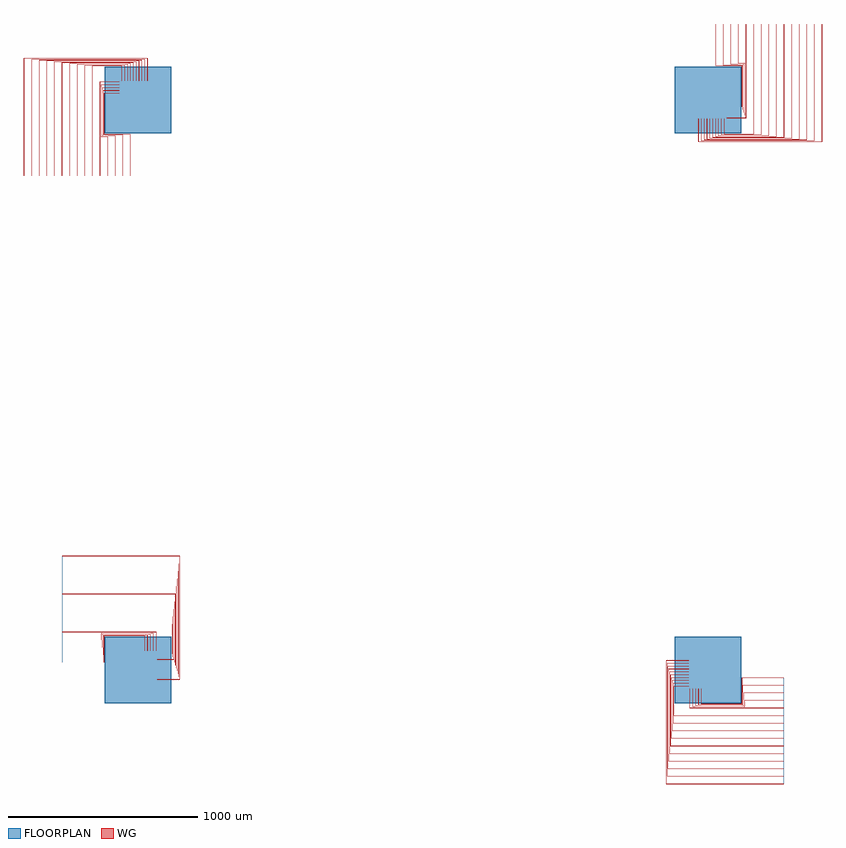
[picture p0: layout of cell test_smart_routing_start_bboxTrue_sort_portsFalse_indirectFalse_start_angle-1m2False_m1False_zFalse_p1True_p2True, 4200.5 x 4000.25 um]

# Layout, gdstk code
import gdstk
lib = gdstk.Library(unit=1e-6, precision=1e-09)
def R(c, l, rs):  # rectangles x0, y0, x1, y1
    for r in rs: c.add(gdstk.rectangle(r[:2], r[2:], *l))
def P(c, l, *ps):  # polygons
    for p in ps: c.add(gdstk.Polygon(p, *l))
WG = (1, 0)
FLOORPLAN = (10, 0)

test_smart_routing_start = lib.new_cell('test_smart_routing_start_bboxTrue_sort_portsFalse_indirectFalse_start_angle-1m2False_m1False_zFalse_p1True_p2True')
P(test_smart_routing_start, WG, [(2950.05,2780.3),(2950.05,2900),(2950.25,2900),(2950.25,2780.5),(3599.75,2780.5),(3599.75,3400),(3599.95,3400),(3599.95,2780.3)],
  [(2949.75,2780),(2949.75,2900),(2949.95,2900),(2949.95,2780.2),(3600.05,2780.2),(3600.05,3400),(3600.25,3400),(3600.25,2780)],
  [(2965.05,2784.8),(2965.05,2900),(2965.25,2900),(2965.25,2785),(3559.75,2785),(3559.75,3400),(3559.95,3400),(3559.95,2784.8)],
  [(2964.75,2784.5),(2964.75,2900),(2964.95,2900),(2964.95,2784.7),(3560.05,2784.7),(3560.05,3400),(3560.25,3400),(3560.25,2784.5)],
  [(2980.05,2789.3),(2980.05,2900),(2980.25,2900),(2980.25,2789.5),(3519.75,2789.5),(3519.75,3400),(3519.95,3400),(3519.95,2789.3)],
  [(2979.75,2789),(2979.75,2900),(2979.95,2900),(2979.95,2789.2),(3520.05,2789.2),(3520.05,3400),(3520.25,3400),(3520.25,2789)],
  [(2995.05,2793.8),(2995.05,2900),(2995.25,2900),(2995.25,2794),(3479.75,2794),(3479.75,3400),(3479.95,3400),(3479.95,2793.8)],
  [(2994.75,2793.5),(2994.75,2900),(2994.95,2900),(2994.95,2793.7),(3480.05,2793.7),(3480.05,3400),(3480.25,3400),(3480.25,2793.5)],
  [(3010.05,2798.3),(3010.05,2900),(3010.25,2900),(3010.25,2798.5),(3439.75,2798.5),(3439.75,3400),(3439.95,3400),(3439.95,2798.3)],
  [(3009.75,2798),(3009.75,2900),(3009.95,2900),(3009.95,2798.2),(3440.05,2798.2),(3440.05,3400),(3440.25,3400),(3440.25,2798)],
  [(3025.05,2802.8),(3025.05,2900),(3025.25,2900),(3025.25,2803),(3399.75,2803),(3399.75,3400),(3399.95,3400),(3399.95,2802.8)],
  [(3024.75,2802.5),(3024.75,2900),(3024.95,2900),(3024.95,2802.7),(3400.05,2802.7),(3400.05,3400),(3400.25,3400),(3400.25,2802.5)],
  [(3040.05,2807.3),(3040.05,2900),(3040.25,2900),(3040.25,2807.5),(3359.75,2807.5),(3359.75,3400),(3359.95,3400),(3359.95,2807.3)],
  [(3039.75,2807),(3039.75,2900),(3039.95,2900),(3039.95,2807.2),(3360.05,2807.2),(3360.05,3400),(3360.25,3400),(3360.25,2807)],
  [(3055.05,2811.8),(3055.05,2900),(3055.25,2900),(3055.25,2812),(3319.75,2812),(3319.75,3400),(3319.95,3400),(3319.95,2811.8)],
  [(3054.75,2811.5),(3054.75,2900),(3054.95,2900),(3054.95,2811.7),(3320.05,2811.7),(3320.05,3400),(3320.25,3400),(3320.25,2811.5)],
  [(3070.05,2816.3),(3070.05,2900),(3070.25,2900),(3070.25,2816.5),(3279.75,2816.5),(3279.75,3400),(3279.95,3400),(3279.95,2816.3)],
  [(3069.75,2816),(3069.75,2900),(3069.95,2900),(3069.95,2816.2),(3280.05,2816.2),(3280.05,3400),(3280.25,3400),(3280.25,2816)],
  [(3085.05,2820.8),(3085.05,2900),(3085.25,2900),(3085.25,2821),(3239.75,2821),(3239.75,3400),(3239.95,3400),(3239.95,2820.8)],
  [(3084.75,2820.5),(3084.75,2900),(3084.95,2900),(3084.95,2820.7),(3240.05,2820.7),(3240.05,3400),(3240.25,3400),(3240.25,2820.5)],
  [(3100,2965.05),(3100,2965.25),(3179,2965.25),(3179,3179),(3039.75,3179),(3039.75,3400),(3039.95,3400),(3039.95,3179.2),(3179.2,3179.2),(3179.2,2965.05)],
  [(3100,2964.75),(3100,2964.95),(3179.3,2964.95),(3179.3,3179.3),(3040.05,3179.3),(3040.05,3400),(3040.25,3400),(3040.25,3179.5),(3179.5,3179.5),(3179.5,2964.75)],
  [(3100,2950.05),(3100,2950.25),(3183.5,2950.25),(3183.5,3183.5),(3079.75,3183.5),(3079.75,3400),(3079.95,3400),(3079.95,3183.7),(3183.7,3183.7),(3183.7,2950.05)],
  [(3100,2949.75),(3100,2949.95),(3183.8,2949.95),(3183.8,3183.8),(3080.05,3183.8),(3080.05,3400),(3080.25,3400),(3080.25,3184),(3184,3184),(3184,2949.75)],
  [(3100,2935.05),(3100,2935.25),(3188,2935.25),(3188,3188),(3119.75,3188),(3119.75,3400),(3119.95,3400),(3119.95,3188.2),(3188.2,3188.2),(3188.2,2935.05)],
  [(3100,2934.75),(3100,2934.95),(3188.3,2934.95),(3188.3,3188.3),(3120.05,3188.3),(3120.05,3400),(3120.25,3400),(3120.25,3188.5),(3188.5,3188.5),(3188.5,2934.75)],
  [(3100,2920.05),(3100,2920.25),(3192.5,2920.25),(3192.5,3192.5),(3159.75,3192.5),(3159.75,3400),(3159.95,3400),(3159.95,3192.7),(3192.7,3192.7),(3192.7,2920.05)],
  [(3100,2919.75),(3100,2919.95),(3192.8,2919.95),(3192.8,3192.8),(3160.05,3192.8),(3160.05,3400),(3160.25,3400),(3160.25,3193),(3193,3193),(3193,2919.75)],
  [(3100,2905.05),(3100,2905.25),(3199.75,2905.25),(3199.75,3400),(3199.95,3400),(3199.95,2905.05)],
  [(3100,2904.75),(3100,2904.95),(3200.05,2904.95),(3200.05,3400),(3200.25,3400),(3200.25,2904.75)],
  [(-599.95,2600),(-599.95,3219.7),(49.95,3219.7),(49.95,3100),(49.75,3100),(49.75,3219.5),(-599.75,3219.5),(-599.75,2600)],
  [(-600.25,2600),(-600.25,3220),(50.25,3220),(50.25,3100),(50.05,3100),(50.05,3219.8),(-600.05,3219.8),(-600.05,2600)],
  [(-559.95,2600),(-559.95,3215.2),(34.95,3215.2),(34.95,3100),(34.75,3100),(34.75,3215),(-559.75,3215),(-559.75,2600)],
  [(-560.25,2600),(-560.25,3215.5),(35.25,3215.5),(35.25,3100),(35.05,3100),(35.05,3215.3),(-560.05,3215.3),(-560.05,2600)],
  [(-519.95,2600),(-519.95,3210.7),(19.95,3210.7),(19.95,3100),(19.75,3100),(19.75,3210.5),(-519.75,3210.5),(-519.75,2600)],
  [(-520.25,2600),(-520.25,3211),(20.25,3211),(20.25,3100),(20.05,3100),(20.05,3210.8),(-520.05,3210.8),(-520.05,2600)],
  [(-479.95,2600),(-479.95,3206.2),(4.95,3206.2),(4.95,3100),(4.75,3100),(4.75,3206),(-479.75,3206),(-479.75,2600)],
  [(-480.25,2600),(-480.25,3206.5),(5.25,3206.5),(5.25,3100),(5.05,3100),(5.05,3206.3),(-480.05,3206.3),(-480.05,2600)],
  [(-439.95,2600),(-439.95,3201.7),(-10.05,3201.7),(-10.05,3100),(-10.25,3100),(-10.25,3201.5),(-439.75,3201.5),(-439.75,2600)],
  [(-440.25,2600),(-440.25,3202),(-9.75,3202),(-9.75,3100),(-9.95,3100),(-9.95,3201.8),(-440.05,3201.8),(-440.05,2600)],
  [(-399.95,2600),(-399.95,3197.2),(-25.05,3197.2),(-25.05,3100),(-25.25,3100),(-25.25,3197),(-399.75,3197),(-399.75,2600)],
  [(-400.25,2600),(-400.25,3197.5),(-24.75,3197.5),(-24.75,3100),(-24.95,3100),(-24.95,3197.3),(-400.05,3197.3),(-400.05,2600)],
  [(-359.95,2600),(-359.95,3192.7),(-40.05,3192.7),(-40.05,3100),(-40.25,3100),(-40.25,3192.5),(-359.75,3192.5),(-359.75,2600)],
  [(-360.25,2600),(-360.25,3193),(-39.75,3193),(-39.75,3100),(-39.95,3100),(-39.95,3192.8),(-360.05,3192.8),(-360.05,2600)],
  [(-319.95,2600),(-319.95,3188.2),(-55.05,3188.2),(-55.05,3100),(-55.25,3100),(-55.25,3188),(-319.75,3188),(-319.75,2600)],
  [(-320.25,2600),(-320.25,3188.5),(-54.75,3188.5),(-54.75,3100),(-54.95,3100),(-54.95,3188.3),(-320.05,3188.3),(-320.05,2600)],
  [(-279.95,2600),(-279.95,3183.7),(-70.05,3183.7),(-70.05,3100),(-70.25,3100),(-70.25,3183.5),(-279.75,3183.5),(-279.75,2600)],
  [(-280.25,2600),(-280.25,3184),(-69.75,3184),(-69.75,3100),(-69.95,3100),(-69.95,3183.8),(-280.05,3183.8),(-280.05,2600)],
  [(-239.95,2600),(-239.95,3179.2),(-85.05,3179.2),(-85.05,3100),(-85.25,3100),(-85.25,3179),(-239.75,3179),(-239.75,2600)],
  [(-240.25,2600),(-240.25,3179.5),(-84.75,3179.5),(-84.75,3100),(-84.95,3100),(-84.95,3179.3),(-240.05,3179.3),(-240.05,2600)],
  [(-39.95,2600),(-39.95,2820.8),(-179.2,2820.8),(-179.2,3034.95),(-100,3034.95),(-100,3034.75),(-179,3034.75),(-179,2821),(-39.75,2821),(-39.75,2600)],
  [(-40.25,2600),(-40.25,2820.5),(-179.5,2820.5),(-179.5,3035.25),(-100,3035.25),(-100,3035.05),(-179.3,3035.05),(-179.3,2820.7),(-40.05,2820.7),(-40.05,2600)],
  [(-79.95,2600),(-79.95,2816.3),(-183.7,2816.3),(-183.7,3049.95),(-100,3049.95),(-100,3049.75),(-183.5,3049.75),(-183.5,2816.5),(-79.75,2816.5),(-79.75,2600)],
  [(-80.25,2600),(-80.25,2816),(-184,2816),(-184,3050.25),(-100,3050.25),(-100,3050.05),(-183.8,3050.05),(-183.8,2816.2),(-80.05,2816.2),(-80.05,2600)],
  [(-119.95,2600),(-119.95,2811.8),(-188.2,2811.8),(-188.2,3064.95),(-100,3064.95),(-100,3064.75),(-188,3064.75),(-188,2812),(-119.75,2812),(-119.75,2600)],
  [(-120.25,2600),(-120.25,2811.5),(-188.5,2811.5),(-188.5,3065.25),(-100,3065.25),(-100,3065.05),(-188.3,3065.05),(-188.3,2811.7),(-120.05,2811.7),(-120.05,2600)],
  [(-159.95,2600),(-159.95,2807.3),(-192.7,2807.3),(-192.7,3079.95),(-100,3079.95),(-100,3079.75),(-192.5,3079.75),(-192.5,2807.5),(-159.75,2807.5),(-159.75,2600)],
  [(-160.25,2600),(-160.25,2807),(-193,2807),(-193,3080.25),(-100,3080.25),(-100,3080.05),(-192.8,3080.05),(-192.8,2807.2),(-160.05,2807.2),(-160.05,2600)],
  [(-199.95,2600),(-199.95,3094.95),(-100,3094.95),(-100,3094.75),(-199.75,3094.75),(-199.75,2600)],
  [(-200.25,2600),(-200.25,3095.25),(-100,3095.25),(-100,3095.05),(-200.05,3095.05),(-200.05,2600)],
  [(100,-49.95),(100,-49.75),(219.5,-49.75),(219.5,599.75),(-400,599.75),(-400,599.95),(219.7,599.95),(219.7,-49.95)],
  [(100,-50.25),(100,-50.05),(219.8,-50.05),(219.8,600.05),(-400,600.05),(-400,600.25),(220,600.25),(220,-50.25)],
  [(100,-34.95),(100,-34.75),(215,-34.75),(215,559.75),(-400,559.75),(-400,559.95),(215.2,559.95),(215.2,-34.95)],
  [(100,-35.25),(100,-35.05),(215.3,-35.05),(215.3,560.05),(-400,560.05),(-400,560.25),(215.5,560.25),(215.5,-35.25)],
  [(100,-19.95),(100,-19.75),(210.5,-19.75),(210.5,519.75),(-400,519.75),(-400,519.95),(210.7,519.95),(210.7,-19.95)],
  [(100,-20.25),(100,-20.05),(210.8,-20.05),(210.8,520.05),(-400,520.05),(-400,520.25),(211,520.25),(211,-20.25)],
  [(100,-4.95),(100,-4.75),(206,-4.75),(206,479.75),(-400,479.75),(-400,479.95),(206.2,479.95),(206.2,-4.95)],
  [(100,-5.25),(100,-5.05),(206.3,-5.05),(206.3,480.05),(-400,480.05),(-400,480.25),(206.5,480.25),(206.5,-5.25)],
  [(100,10.05),(100,10.25),(201.5,10.25),(201.5,439.75),(-400,439.75),(-400,439.95),(201.7,439.95),(201.7,10.05)],
  [(100,9.75),(100,9.95),(201.8,9.95),(201.8,440.05),(-400,440.05),(-400,440.25),(202,440.25),(202,9.75)],
  [(100,25.05),(100,25.25),(197,25.25),(197,399.75),(-400,399.75),(-400,399.95),(197.2,399.95),(197.2,25.05)],
  [(100,24.75),(100,24.95),(197.3,24.95),(197.3,400.05),(-400,400.05),(-400,400.25),(197.5,400.25),(197.5,24.75)],
  [(100,40.05),(100,40.25),(192.5,40.25),(192.5,359.75),(-400,359.75),(-400,359.95),(192.7,359.95),(192.7,40.05)],
  [(100,39.75),(100,39.95),(192.8,39.95),(192.8,360.05),(-400,360.05),(-400,360.25),(193,360.25),(193,39.75)],
  [(100,55.05),(100,55.25),(188,55.25),(188,319.75),(-400,319.75),(-400,319.95),(188.2,319.95),(188.2,55.05)],
  [(100,54.75),(100,54.95),(188.3,54.95),(188.3,320.05),(-400,320.05),(-400,320.25),(188.5,320.25),(188.5,54.75)],
  [(100,70.05),(100,70.25),(183.5,70.25),(183.5,279.75),(-400,279.75),(-400,279.95),(183.7,279.95),(183.7,70.05)],
  [(100,69.75),(100,69.95),(183.8,69.95),(183.8,280.05),(-400,280.05),(-400,280.25),(184,280.25),(184,69.75)],
  [(100,85.05),(100,85.25),(179,85.25),(179,239.75),(-400,239.75),(-400,239.95),(179.2,239.95),(179.2,85.05)],
  [(100,84.75),(100,84.95),(179.3,84.95),(179.3,240.05),(-400,240.05),(-400,240.25),(179.5,240.25),(179.5,84.75)],
  [(-400,39.75),(-400,39.95),(-179.2,39.95),(-179.2,179.2),(34.95,179.2),(34.95,100),(34.75,100),(34.75,179),(-179,179),(-179,39.75)],
  [(-400,40.05),(-400,40.25),(-179.5,40.25),(-179.5,179.5),(35.25,179.5),(35.25,100),(35.05,100),(35.05,179.3),(-179.3,179.3),(-179.3,40.05)],
  [(-400,79.75),(-400,79.95),(-183.7,79.95),(-183.7,183.7),(49.95,183.7),(49.95,100),(49.75,100),(49.75,183.5),(-183.5,183.5),(-183.5,79.75)],
  [(-400,80.05),(-400,80.25),(-184,80.25),(-184,184),(50.25,184),(50.25,100),(50.05,100),(50.05,183.8),(-183.8,183.8),(-183.8,80.05)],
  [(64.75,100),(64.75,188),(-188,188),(-188,119.75),(-400,119.75),(-400,119.95),(-188.2,119.95),(-188.2,188.2),(64.95,188.2),(64.95,100)],
  [(65.05,100),(65.05,188.3),(-188.3,188.3),(-188.3,120.05),(-400,120.05),(-400,120.25),(-188.5,120.25),(-188.5,188.5),(65.25,188.5),(65.25,100)],
  [(79.75,100),(79.75,192.5),(-192.5,192.5),(-192.5,159.75),(-400,159.75),(-400,159.95),(-192.7,159.95),(-192.7,192.7),(79.95,192.7),(79.95,100)],
  [(80.05,100),(80.05,192.8),(-192.8,192.8),(-192.8,160.05),(-400,160.05),(-400,160.25),(-193,160.25),(-193,193),(80.25,193),(80.25,100)],
  [(94.75,100),(94.75,199.75),(-400,199.75),(-400,199.95),(94.95,199.95),(94.95,100)],
  [(95.05,100),(95.05,200.05),(-400,200.05),(-400,200.25),(95.25,200.25),(95.25,100)],
  [(2780.3,-599.95),(2780.3,49.95),(2900,49.95),(2900,49.75),(2780.5,49.75),(2780.5,-599.75),(3400,-599.75),(3400,-599.95)],
  [(2780,-600.25),(2780,50.25),(2900,50.25),(2900,50.05),(2780.2,50.05),(2780.2,-600.05),(3400,-600.05),(3400,-600.25)],
  [(2784.8,-559.95),(2784.8,34.95),(2900,34.95),(2900,34.75),(2785,34.75),(2785,-559.75),(3400,-559.75),(3400,-559.95)],
  [(2784.5,-560.25),(2784.5,35.25),(2900,35.25),(2900,35.05),(2784.7,35.05),(2784.7,-560.05),(3400,-560.05),(3400,-560.25)],
  [(2789.3,-519.95),(2789.3,19.95),(2900,19.95),(2900,19.75),(2789.5,19.75),(2789.5,-519.75),(3400,-519.75),(3400,-519.95)],
  [(2789,-520.25),(2789,20.25),(2900,20.25),(2900,20.05),(2789.2,20.05),(2789.2,-520.05),(3400,-520.05),(3400,-520.25)],
  [(2793.8,-479.95),(2793.8,4.95),(2900,4.95),(2900,4.75),(2794,4.75),(2794,-479.75),(3400,-479.75),(3400,-479.95)],
  [(2793.5,-480.25),(2793.5,5.25),(2900,5.25),(2900,5.05),(2793.7,5.05),(2793.7,-480.05),(3400,-480.05),(3400,-480.25)],
  [(2798.3,-439.95),(2798.3,-10.05),(2900,-10.05),(2900,-10.25),(2798.5,-10.25),(2798.5,-439.75),(3400,-439.75),(3400,-439.95)],
  [(2798,-440.25),(2798,-9.75),(2900,-9.75),(2900,-9.95),(2798.2,-9.95),(2798.2,-440.05),(3400,-440.05),(3400,-440.25)],
  [(2802.8,-399.95),(2802.8,-25.05),(2900,-25.05),(2900,-25.25),(2803,-25.25),(2803,-399.75),(3400,-399.75),(3400,-399.95)],
  [(2802.5,-400.25),(2802.5,-24.75),(2900,-24.75),(2900,-24.95),(2802.7,-24.95),(2802.7,-400.05),(3400,-400.05),(3400,-400.25)],
  [(2807.3,-359.95),(2807.3,-40.05),(2900,-40.05),(2900,-40.25),(2807.5,-40.25),(2807.5,-359.75),(3400,-359.75),(3400,-359.95)],
  [(2807,-360.25),(2807,-39.75),(2900,-39.75),(2900,-39.95),(2807.2,-39.95),(2807.2,-360.05),(3400,-360.05),(3400,-360.25)],
  [(2811.8,-319.95),(2811.8,-55.05),(2900,-55.05),(2900,-55.25),(2812,-55.25),(2812,-319.75),(3400,-319.75),(3400,-319.95)],
  [(2811.5,-320.25),(2811.5,-54.75),(2900,-54.75),(2900,-54.95),(2811.7,-54.95),(2811.7,-320.05),(3400,-320.05),(3400,-320.25)],
  [(2816.3,-279.95),(2816.3,-70.05),(2900,-70.05),(2900,-70.25),(2816.5,-70.25),(2816.5,-279.75),(3400,-279.75),(3400,-279.95)],
  [(2816,-280.25),(2816,-69.75),(2900,-69.75),(2900,-69.95),(2816.2,-69.95),(2816.2,-280.05),(3400,-280.05),(3400,-280.25)],
  [(2820.8,-239.95),(2820.8,-85.05),(2900,-85.05),(2900,-85.25),(2821,-85.25),(2821,-239.75),(3400,-239.75),(3400,-239.95)],
  [(2820.5,-240.25),(2820.5,-84.75),(2900,-84.75),(2900,-84.95),(2820.7,-84.95),(2820.7,-240.05),(3400,-240.05),(3400,-240.25)],
  [(2964.75,-179.5),(2964.75,-100),(2964.95,-100),(2964.95,-179.3),(3179.3,-179.3),(3179.3,-40.05),(3400,-40.05),(3400,-40.25),(3179.5,-40.25),(3179.5,-179.5)],
  [(2965.05,-179.2),(2965.05,-100),(2965.25,-100),(2965.25,-179),(3179,-179),(3179,-39.75),(3400,-39.75),(3400,-39.95),(3179.2,-39.95),(3179.2,-179.2)],
  [(2949.75,-184),(2949.75,-100),(2949.95,-100),(2949.95,-183.8),(3183.8,-183.8),(3183.8,-80.05),(3400,-80.05),(3400,-80.25),(3184,-80.25),(3184,-184)],
  [(2950.05,-183.7),(2950.05,-100),(2950.25,-100),(2950.25,-183.5),(3183.5,-183.5),(3183.5,-79.75),(3400,-79.75),(3400,-79.95),(3183.7,-79.95),(3183.7,-183.7)],
  [(2934.75,-188.5),(2934.75,-100),(2934.95,-100),(2934.95,-188.3),(3188.3,-188.3),(3188.3,-120.05),(3400,-120.05),(3400,-120.25),(3188.5,-120.25),(3188.5,-188.5)],
  [(2935.05,-188.2),(2935.05,-100),(2935.25,-100),(2935.25,-188),(3188,-188),(3188,-119.75),(3400,-119.75),(3400,-119.95),(3188.2,-119.95),(3188.2,-188.2)],
  [(2919.75,-193),(2919.75,-100),(2919.95,-100),(2919.95,-192.8),(3192.8,-192.8),(3192.8,-160.05),(3400,-160.05),(3400,-160.25),(3193,-160.25),(3193,-193)],
  [(2920.05,-192.7),(2920.05,-100),(2920.25,-100),(2920.25,-192.5),(3192.5,-192.5),(3192.5,-159.75),(3400,-159.75),(3400,-159.95),(3192.7,-159.95),(3192.7,-192.7)],
  [(2904.75,-200.25),(2904.75,-100),(2904.95,-100),(2904.95,-200.05),(3400,-200.05),(3400,-200.25)],
  [(2905.05,-199.95),(2905.05,-100),(2905.25,-100),(2905.25,-199.75),(3400,-199.75),(3400,-199.95)])
R(test_smart_routing_start, FLOORPLAN, [(-175,-175,175,175), (2825,-175,3175,175), (-175,2825,175,3175), (2825,2825,3175,3175)])
P(test_smart_routing_start, FLOORPLAN, [(-400,40),(-400,600),(-400,600),(-400,40)],
  [(-600,2600),(-600,2600),(-40,2600),(-40,2600)],
  [(3400,-600),(3400,-40),(3400,-40),(3400,-600)],
  [(3040,3400),(3040,3400),(3600,3400),(3600,3400)])

lib.write_gds('test_smart_routing_start_bboxTrue_sort_portsFalse_indirectFalse_start_angle-1m2False_m1False_zFalse_p1True_p2True.gds')
